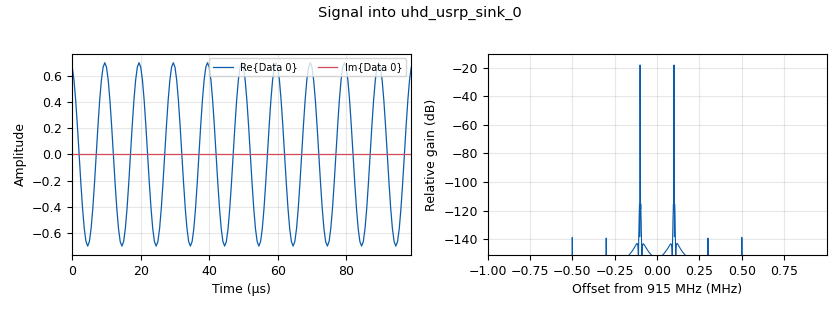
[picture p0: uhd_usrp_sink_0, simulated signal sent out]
options:
  parameters:
    author: UCaN Lab
    generate_options: qt_gui
    id: Remote_Control_03_TX
    output_language: python
    title: 'GR Tutorial: ZMQ'
  states: {}

blocks:
- name: fc_tx
  id: variable_qtgui_range
  parameters:
    label: Center Frequency - Tx
    start: '910000000'
    step: '500000'
    stop: '920000000'
    value: '915000000'
  states: {}
- name: gain_tx
  id: variable_qtgui_range
  parameters:
    gui_hint: 2,0,1,2
    label: Gain - Tx
    start: '0'
    step: '5'
    stop: '60'
    value: '40'
  states: {}
- name: path_select
  id: variable_qtgui_chooser
  parameters:
    gui_hint: 0,2,1,1
    label: Source Signal
    label0: Real Sine
    label1: Complex Sine
    num_opts: '2'
    option0: '0'
    option1: '1'
    type: int
    value: '0'
  states: {}
- name: samp_rate
  id: variable
  parameters:
    value: '2000000'
  states: {}
- name: sig_freq
  id: variable_qtgui_range
  parameters:
    gui_hint: 0,0,1,2
    label: Signal Frequency
    start: 5e4
    step: 5e4
    stop: 5e5
    value: 1e5
  states: {}
- name: analog_const_source_x_0
  id: analog_const_source_x
  parameters:
    const: '0'
    type: float
  states: {}
- name: analog_sig_source_x_0
  id: analog_sig_source_x
  parameters:
    amp: '0.7'
    freq: sig_freq
    offset: '0'
    phase: '0'
    samp_rate: samp_rate
    type: complex
    waveform: analog.GR_COS_WAVE
  states: {}
- name: analog_sig_source_x_1_0
  id: analog_sig_source_x
  parameters:
    amp: '0.7'
    freq: sig_freq
    offset: '0'
    phase: '0'
    samp_rate: samp_rate
    type: float
    waveform: analog.GR_COS_WAVE
  states: {}
- name: blocks_float_to_complex_0
  id: blocks_float_to_complex
  parameters: {}
  states: {}
- name: blocks_selector_0
  id: blocks_selector
  parameters:
    enabled: 'True'
    input_index: path_select
    num_inputs: '2'
    num_outputs: '1'
    output_index: '0'
    type: complex
  states: {}
- name: note_1_0
  id: note
  parameters:
    note: Transmitter
  states: {}
- name: tx_addr
  id: parameter
  parameters:
    label: TX Address
    short_id: t
    type: str
    value: '3279417'
  states: {}
- name: uhd_usrp_sink_0
  id: uhd_usrp_sink
  parameters:
    ant0: TX/RX
    center_freq0: fc_tx
    dev_addr: '"serial=" + tx_addr'
    dev_args: '""'
    gain0: gain_tx
    len_tag_name: ''
    samp_rate: samp_rate
    sync: none
    type: fc32
  states: {}
- name: virtual_sink_0
  id: virtual_sink
  parameters:
    stream_id: Real_Sine
  states: {}
- name: virtual_sink_0_0
  id: virtual_sink
  parameters:
    stream_id: Complex_Sine
  states: {}
- name: virtual_source_0
  id: virtual_source
  parameters:
    stream_id: Real_Sine
  states: {}
- name: virtual_source_0_0
  id: virtual_source
  parameters:
    stream_id: Complex_Sine
  states: {}
- name: xmlrpc_server_1_0
  id: xmlrpc_server
  parameters:
    addr: localhost
    port: '8080'
  states: {}

connections:
- [analog_const_source_x_0, '0', blocks_float_to_complex_0, '1']
- [analog_sig_source_x_0, '0', virtual_sink_0_0, '0']
- [analog_sig_source_x_1_0, '0', blocks_float_to_complex_0, '0']
- [blocks_float_to_complex_0, '0', virtual_sink_0, '0']
- [blocks_selector_0, '0', uhd_usrp_sink_0, '0']
- [virtual_source_0, '0', blocks_selector_0, '0']
- [virtual_source_0_0, '0', blocks_selector_0, '1']

metadata:
  file_format: 1
